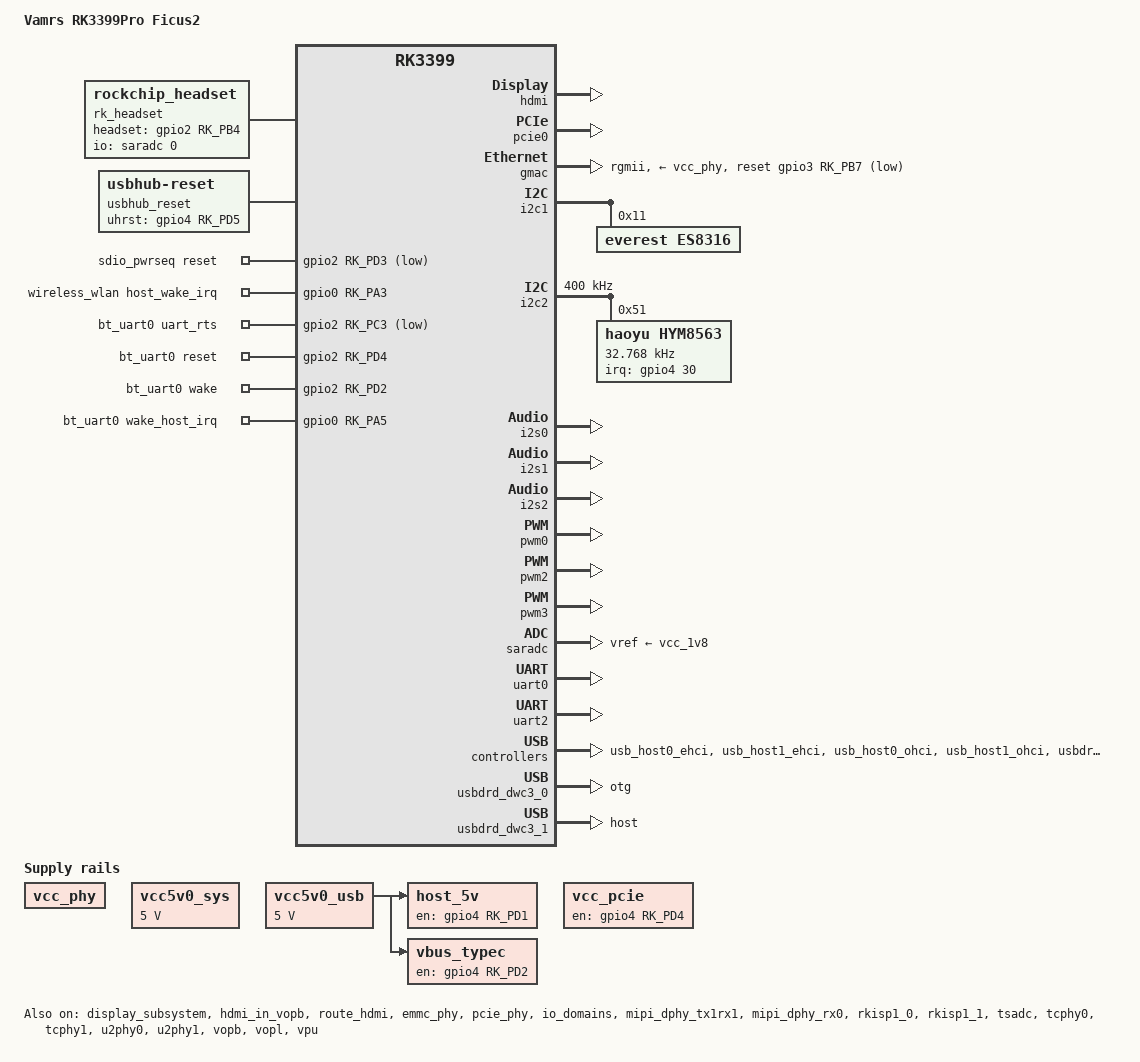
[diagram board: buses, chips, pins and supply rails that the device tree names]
// SPDX-License-Identifier: (GPL-2.0+ OR MIT)
// Copyright (c) 2018 Fuzhou Rockchip Electronics Co., Ltd

/dts-v1/;
#include "rk3399pro-vmarc-som.dtsi"
#include "rk3399-linux.dtsi"

/ {
	model = "Vamrs RK3399Pro Ficus2";
	compatible = "vamrs,rk3399pro-ficus2", "rockchip,rk3399pro";

	/delete-node/ chosen;
	/delete-node/ rk809-sound;

	backlight: backlight {
		status = "disabled";
		compatible = "pwm-backlight";
		pwms = <&pwm0 0 25000 0>;
		brightness-levels = <
			  0  20  20  21  21  22  22  23
			 23  24  24  25  25  26  26  27
			 27  28  28  29  29  30  30  31
			 31  32  32  33  33  34  34  35
			 35  36  36  37  37  38  38  39
			 40  41  42  43  44  45  46  47
			 48  49  50  51  52  53  54  55
			 56  57  58  59  60  61  62  63
			 64  65  66  67  68  69  70  71
			 72  73  74  75  76  77  78  79
			 80  81  82  83  84  85  86  87
			 88  89  90  91  92  93  94  95
			 96  97  98  99 100 101 102 103
			104 105 106 107 108 109 110 111
			112 113 114 115 116 117 118 119
			120 121 122 123 124 125 126 127
			128 129 130 131 132 133 134 135
			136 137 138 139 140 141 142 143
			144 145 146 147 148 149 150 151
			152 153 154 155 156 157 158 159
			160 161 162 163 164 165 166 167
			168 169 170 171 172 173 174 175
			176 177 178 179 180 181 182 183
			184 185 186 187 188 189 190 191
			192 193 194 195 196 197 198 199
			200 201 202 203 204 205 206 207
			208 209 210 211 212 213 214 215
			216 217 218 219 220 221 222 223
			224 225 226 227 228 229 230 231
			232 233 234 235 236 237 238 239
			240 241 242 243 244 245 246 247
			248 249 250 251 252 253 254 255
		>;
		default-brightness-level = <200>;
		enable-gpios = <&gpio1 RK_PB5 GPIO_ACTIVE_HIGH>;
	};

	panel: panel {
		status = "disabled";
		compatible = "simple-panel";
		backlight = <&backlight>;
		enable-gpios = <&gpio4 RK_PD6 GPIO_ACTIVE_HIGH>;
		prepare-delay-ms = <20>;
		enable-delay-ms = <20>;
		reset-delay-ms = <20>;

		display-timings {
			native-mode = <&timing0>;

			timing0: timing0 {
				clock-frequency = <200000000>;
				hactive = <1536>;
				vactive = <2048>;
				hfront-porch = <12>;
				hsync-len = <16>;
				hback-porch = <48>;
				vfront-porch = <8>;
				vsync-len = <4>;
				vback-porch = <8>;
				hsync-active = <0>;
				vsync-active = <0>;
				de-active = <0>;
				pixelclk-active = <0>;
			};
		};

		ports {
			panel_in: endpoint {
				remote-endpoint = <&edp_out>;
			};
		};
	};

	rk_headset: rk-headset {
		status = "okay";
		compatible = "rockchip_headset";
		headset_gpio = <&gpio2 RK_PB4 GPIO_ACTIVE_HIGH>;
		pinctrl-names = "default";
		pinctrl-0 = <&hp_det>;
		io-channels = <&saradc 0>;
	};

	es8316_sound:es8316-sound {
		status = "okay";
		compatible = "simple-audio-card";
		simple-audio-card,format = "i2s";
		simple-audio-card,name = "rockchip,es8316-codec";
		simple-audio-card,mclk-fs = <256>;
		simple-audio-card,widgets =
			"Microphone", "Mic Jack",
			"Headphone", "Headphone Jack";
		simple-audio-card,routing =
			"Mic Jack", "MICBIAS1",
			"IN1P", "Mic Jack",
			"Headphone Jack", "HPOL",
			"Headphone Jack", "HPOR";
		simple-audio-card,cpu {
			sound-dai = <&i2s0>;
		};
		simple-audio-card,codec {
			sound-dai = <&es8316>;
		};
	};

	hdmi_codec: hdmi-codec {
		status = "okay";
		compatible = "simple-audio-card";
		simple-audio-card,format = "i2s";
		simple-audio-card,mclk-fs = <256>;
		simple-audio-card,name = "HDMI-CODEC";

		simple-audio-card,cpu {
			sound-dai = <&i2s2>;
		};

		simple-audio-card,codec {
			sound-dai = <&hdmi>;
		};
	};

	vcc_phy: vcc-phy-regulator {
		compatible = "regulator-fixed";
		regulator-name = "vcc_phy";
		regulator-always-on;
		regulator-boot-on;
	};

	vcc5v0_sys: vccsys {
		compatible = "regulator-fixed";
		regulator-name = "vcc5v0_sys";
		regulator-always-on;
		regulator-boot-on;
		regulator-min-microvolt = <5000000>;
		regulator-max-microvolt = <5000000>;
	};

	vcc5v0_usb: vcc5v0-usb {
		compatible = "regulator-fixed";
		regulator-name = "vcc5v0_usb";
		regulator-always-on;
		regulator-boot-on;
		regulator-min-microvolt = <5000000>;
		regulator-max-microvolt = <5000000>;
	}; 

	usbhub_reset: usbhub-reset {
		compatible = "usbhub-reset";
		uhrst-gpio = <&gpio4 RK_PD5 GPIO_ACTIVE_HIGH>;
	};

	host_5v: host-5v {
		compatible = "regulator-fixed";
		enable-active-high;
		gpio = <&gpio4 RK_PD1 GPIO_ACTIVE_HIGH>;
		pinctrl-names = "default";
		pinctrl-0 = <&usb1_en_oc>;
		regulator-name = "host_5v";
		regulator-always-on;
		regulator-boot-on;
		vin-supply = <&vcc5v0_usb>;
	};

	vbus_typec: vbus-typec {
		compatible = "regulator-fixed";
		enable-active-high;
		gpio = <&gpio4 RK_PD2 GPIO_ACTIVE_HIGH>;
		pinctrl-names = "default";
		pinctrl-0 = <&usb0_en_oc>;
		regulator-name = "vbus_typec";
		regulator-always-on;
		regulator-boot-on;
		vin-supply = <&vcc5v0_usb>;
	};

	vcc_pcie: vcc-pcie-regulator {
		compatible = "regulator-fixed";
		enable-active-high;
		gpio = <&gpio4 RK_PD4 GPIO_ACTIVE_HIGH>;
		pinctrl-names = "default";
		pinctrl-0 = <&pcie_pwr>;
		regulator-name = "vcc_pcie";
		regulator-always-on;
		regulator-boot-on;
	};

	sdio_pwrseq: sdio-pwrseq {
		status = "okay";
		compatible = "mmc-pwrseq-simple";
		clocks = <&rk809 1>;
		clock-names = "ext_clock";
		pinctrl-names = "default";
		pinctrl-0 = <&wifi_enable_h>;

		/*
		 * On the module itself this is one of these (depending
		 * on the actual card populated):
		 * - SDIO_RESET_L_WL_REG_ON
		 * - PDN (power down when low)
		 */
		reset-gpios = <&gpio2 RK_PD3 GPIO_ACTIVE_LOW>;
	};

	wireless_wlan: wireless-wlan {
		compatible = "wlan-platdata";
		rockchip,grf = <&grf>;
		wifi_chip_type = "ap6256";
		sdio_vref = <1800>;
		pinctrl-names = "default";
		pinctrl-0 = <&wifi_wake_host>;
		WIFI,host_wake_irq = <&gpio0 RK_PA3 GPIO_ACTIVE_HIGH>;
		status = "okay";
	};

	bt_uart0: wireless_bluetooth: wireless-bluetooth {
		compatible = "bluetooth-platdata";
		clocks = <&rk809 1>;
		clock-names = "ext_clock";
		uart_rts_gpios = <&gpio2 RK_PC3 GPIO_ACTIVE_LOW>;
		pinctrl-names = "default", "rts_gpio";
		pinctrl-0 = <&uart0_rts>;
		pinctrl-1 = <&uart0_gpios>;
		BT,reset_gpio    = <&gpio2 RK_PD4 GPIO_ACTIVE_HIGH>;
		BT,wake_gpio     = <&gpio2 RK_PD2 GPIO_ACTIVE_HIGH>;
		BT,wake_host_irq = <&gpio0 RK_PA5 GPIO_ACTIVE_HIGH>;
		status = "okay";
	};
};

&cpu_l0 {
	cpu-supply = <&vdd_cpu_l>;
};

&cpu_l1 {
	cpu-supply = <&vdd_cpu_l>;
};

&cpu_l2 {
	cpu-supply = <&vdd_cpu_l>;
};

&cpu_l3 {
	cpu-supply = <&vdd_cpu_l>;
};

&cpu_b0 {
	cpu-supply = <&vdd_cpu_b>;
};

&cpu_b1 {
	cpu-supply = <&vdd_cpu_b>;
};

&fiq_debugger {
	status = "disabled";
};

&display_subsystem {
	status = "okay";
};

&hdmi {
	status = "okay";
	#address-cells = <1>;
	#size-cells = <0>;
	#sound-dai-cells = <0>;
};

&hdmi_in_vopb {
	status = "okay";
};

&hdmi_in_vopl {
	status = "disabled";
};

&route_hdmi {
	status = "okay";
	connect = <&vopb_out_hdmi>;
};

&edp {
	status = "disabled";
	force-hpd;

	ports {
	port@1 {
		reg = <1>;

			edp_out: endpoint {
				remote-endpoint = <&panel_in>;
			};
		};
	};
};

&edp_in_vopb {
	status = "disabled";
};

&edp_in_vopl {
	status = "disabled";
};

&route_edp {
	status = "disabled";
	connect = <&vopl_out_edp>;
};

&emmc_phy {
	status = "okay";
};

&sdmmc {
	sd-uhs-sdr12;
	sd-uhs-sdr25;
	sd-uhs-sdr50;
	sd-uhs-sdr104;
};

&sdio0 {
	/delete-property/ sd-uhs-sdr104;
};

&pcie_phy {
	status = "okay";
};

&pcie0 {
	ep-gpios = <&gpio0 RK_PB4 GPIO_ACTIVE_HIGH>;
	num-lines = <4>;
	pinctrl-names = "default";
	pinctrl-0 = <&pcie_clkreqnb_cpm>;
	status = "okay";
};

&gmac {
	phy-supply = <&vcc_phy>;
	phy-mode = "rgmii";
	clock_in_out = "input";
	snps,reset-gpio = <&gpio3 RK_PB7 GPIO_ACTIVE_LOW>;
	snps,reset-active-low;
	snps,reset-delays-us = <0 10000 50000>;
	assigned-clocks = <&cru SCLK_RMII_SRC>;
	assigned-clock-parents = <&clkin_gmac>;
	pinctrl-names = "default";
	pinctrl-0 = <&rgmii_pins>;
	tx_delay = <0x28>;
	rx_delay = <0x11>;
	status = "okay";
};

&i2c1 {
	status = "okay";
	i2c-scl-rising-time-ns = <140>;
	i2c-scl-falling-time-ns = <30>;

	es8316: es8316@11 {
		status = "okay";
		#sound-dai-cells = <0>;
		compatible = "everest,es8316";
		reg = <0x11>;
		clocks = <&cru SCLK_I2S_8CH_OUT>;
		clock-names = "mclk";
		pinctrl-names = "default";
		pinctrl-0 = <&i2s_8ch_mclk>;
	};
};

&i2c2 {
	status = "okay";
	clock-frequency = <400000>;

	hym8563: hym8563@51 {
		compatible = "haoyu,hym8563";
		reg = <0x51>;
		#clock-cells = <0>;
		clock-frequency = <32768>;
		clock-output-names = "hym8563";
		pinctrl-names = "default";
		pinctrl-0 = <&hym8563_int>;
		interrupt-parent = <&gpio4>;
		interrupts = <30 IRQ_TYPE_LEVEL_LOW>;
		status = "okay";
	};
};

&rk809 {
	/delete-node/ codec;
};

&i2s0 {
	#sound-dai-cells = <0>;
	status = "okay";
};

&i2s1 {
	status = "okay";
	#sound-dai-cells = <0>;
};

&i2s2 {
	#sound-dai-cells = <0>;
	status = "okay";
};

&io_domains {
	status = "okay";
	bt656-supply = <&vcca_1v8>;
	audio-supply = <&vcca_1v8>;
	sdmmc-supply = <&vccio_sd>;
	gpio1830-supply = <&vcc_3v0>;
};

&isp0_mmu {
	status = "okay";
};

&isp1_mmu {
	status = "okay";
};

&mipi_dphy_tx1rx1 {
	status = "okay";

	ports {
		#address-cells = <1>;
		#size-cells = <0>;

		port@0 {
			reg = <0>;
			#address-cells = <1>;
			#size-cells = <0>;

			mipi_in_ucam1: endpoint@1 {
				reg = <1>;
				/* Unlinked camera */
				//remote-endpoint = <&ucam_out1>;
				data-lanes = <1 2>;
			};
		};

		port@1 {
			reg = <1>;
			#address-cells = <1>;
			#size-cells = <0>;

			dphy_tx1rx1_out: endpoint@0 {
				reg = <0>;
				remote-endpoint = <&isp1_mipi_in>;
			};
		};
	};
};

&mipi_dphy_rx0 {
	status = "okay";

	ports {
		#address-cells = <1>;
		#size-cells = <0>;

		port@1 {
			reg = <1>;
			#address-cells = <1>;
			#size-cells = <0>;

			dphy_rx0_out: endpoint@0 {
				reg = <0>;
				remote-endpoint = <&isp0_mipi_in>;
			};
		};
	};
};

&pwm0 {
	status = "okay";
};

&pwm2 {
	status = "okay";
};

&pwm3 {
	status = "okay";
	pinctrl-names = "default";
	pinctrl-0 = <&pwm3a_pin>;
	interrupts = <GIC_SPI 61 IRQ_TYPE_LEVEL_HIGH 0>;
	compatible = "rockchip,remotectl-pwm";
	remote_pwm_id = <3>;
	handle_cpu_id = <1>;
	remote_support_psci = <1>;

	ir_key1 {
		rockchip,usercode = <0x4040>;
		rockchip,key_table =
			<0xf2	KEY_REPLY>,
			<0xba	KEY_BACK>,
			<0xf4	KEY_UP>,
			<0xf1	KEY_DOWN>,
			<0xef	KEY_LEFT>,
			<0xee	KEY_RIGHT>,
			<0xbd	KEY_HOME>,
			<0xea	KEY_VOLUMEUP>,
			<0xe3	KEY_VOLUMEDOWN>,
			<0xe2	KEY_SEARCH>,
			<0xb2	KEY_POWER>,
			<0xbc	KEY_MUTE>,
			<0xec	KEY_MENU>,
			<0xbf	0x190>,
			<0xe0	0x191>,
			<0xe1	0x192>,
			<0xe9	183>,
			<0xe6	248>,
			<0xe8	185>,
			<0xe7	186>,
			<0xf0	388>,
			<0xbe	0x175>;
	};

	ir_key2 {
		rockchip,usercode = <0xff00>;
		rockchip,key_table =
			<0xf9	KEY_HOME>,
			<0xbf	KEY_BACK>,
			<0xfb	KEY_MENU>,
			<0xaa	KEY_REPLY>,
			<0xb9	KEY_UP>,
			<0xe9	KEY_DOWN>,
			<0xb8	KEY_LEFT>,
			<0xea	KEY_RIGHT>,
			<0xeb	KEY_VOLUMEDOWN>,
			<0xef	KEY_VOLUMEUP>,
			<0xf7	KEY_MUTE>,
			<0xe7	KEY_POWER>,
			<0xfc	KEY_POWER>,
			<0xa9	KEY_VOLUMEDOWN>,
			<0xa8	KEY_VOLUMEDOWN>,
			<0xe0	KEY_VOLUMEDOWN>,
			<0xa5	KEY_VOLUMEDOWN>,
			<0xab	183>,
			<0xb7	388>,
			<0xf8	184>,
			<0xaf	185>,
			<0xed	KEY_VOLUMEDOWN>,
			<0xee	186>,
			<0xb3	KEY_VOLUMEDOWN>,
			<0xf1	KEY_VOLUMEDOWN>,
			<0xf2	KEY_VOLUMEDOWN>,
			<0xf3	KEY_SEARCH>,
			<0xb4	KEY_VOLUMEDOWN>,
			<0xbe	KEY_SEARCH>;
	};

	ir_key3 {
		rockchip,usercode = <0x1dcc>;
		rockchip,key_table =
			<0xee	KEY_REPLY>,
			<0xf0	KEY_BACK>,
			<0xf8	KEY_UP>,
			<0xbb	KEY_DOWN>,
			<0xef	KEY_LEFT>,
			<0xed	KEY_RIGHT>,
			<0xfc	KEY_HOME>,
			<0xf1	KEY_VOLUMEUP>,
			<0xfd	KEY_VOLUMEDOWN>,
			<0xb7	KEY_SEARCH>,
			<0xff	KEY_POWER>,
			<0xf3	KEY_MUTE>,
			<0xbf	KEY_MENU>,
			<0xf9	0x191>,
			<0xf5	0x192>,
			<0xb3	388>,
			<0xbe	KEY_1>,
			<0xba	KEY_2>,
			<0xb2	KEY_3>,
			<0xbd	KEY_4>,
			<0xf9	KEY_5>,
			<0xb1	KEY_6>,
			<0xfc	KEY_7>,
			<0xf8	KEY_8>,
			<0xb0	KEY_9>,
			<0xb6	KEY_0>,
			<0xb5	KEY_BACKSPACE>;
	};
};

&rkisp1_0 {
	status = "okay";

	port {
		#address-cells = <1>;
		#size-cells = <0>;

		isp0_mipi_in: endpoint@0 {
			reg = <0>;
			remote-endpoint = <&dphy_rx0_out>;
		};
	};
};

&rkisp1_1 {
	status = "okay";

	port {
		#address-cells = <1>;
		#size-cells = <0>;

		isp1_mipi_in: endpoint@0 {
			reg = <0>;
			remote-endpoint = <&dphy_tx1rx1_out>;
		};
	};
};

&saradc {
	status = "okay";
	vref-supply = <&vcc_1v8>;
};

&tsadc {
	rockchip,hw-tshut-mode = <1>; /* tshut mode 0:CRU 1:GPIO */
	rockchip,hw-tshut-polarity = <1>; /* tshut polarity 0:LOW 1:HIGH */
	status = "okay";
};

&uart0 {
	pinctrl-names = "default";
	pinctrl-0 = <&uart0_xfer &uart0_cts>;
	status = "okay";
};

&uart2 {
	status = "okay";
};

&tcphy0 {
	status = "okay";
};

&tcphy1 {
	status = "okay";
};

&u2phy0 {
	status = "okay";
	enable-active-high;
	gpio = <&gpio4 RK_PD1 GPIO_ACTIVE_HIGH>;

	u2phy0_otg: otg-port {
		status = "okay";
	};

	u2phy0_host: host-port {
		phy-supply = <&host_5v>;
		status = "okay";
	};
};

&u2phy1 {
	status = "okay";
	enable-active-high;
	gpio = <&gpio4 RK_PD1 GPIO_ACTIVE_HIGH>;

	u2phy1_otg: otg-port {
		status = "okay";
	};

	u2phy1_host: host-port {
		phy-supply = <&host_5v>;
		status = "okay";
	};
};

&usb_host0_ehci {
	status = "okay";
};

&usb_host1_ehci {
	status = "okay";
};
&usb_host0_ohci {
	status = "okay";
};

&usb_host1_ohci {
	status = "okay";
};

&usbdrd3_0 {
	extcon = <&u2phy0>;
	status = "okay";
};

&usbdrd3_1 {
	status = "okay";
};

&usbdrd_dwc3_0 {
	dr_mode = "otg";
	status = "okay";
};

&usbdrd_dwc3_1 {
	dr_mode = "host";
	status = "okay";
};

&vopb {
	status = "okay";
};

&vopb_mmu {
	status = "okay";
};

&vopl {
	status = "okay";
};

&vopl_mmu {
	status = "okay";
};

&vpu {
	status = "okay";
	/* 0 means ion, 1 means drm */
	//allocator = <0>;
};

&pinctrl {
	headphone {
		hp_det: hp-det {
			rockchip,pins =
				<2 RK_PB4 RK_FUNC_GPIO &pcfg_pull_up>;
		};
	};

	host_5v {
		usb1_en_oc: usb1-en-oc {
			rockchip,pins =
				<4 RK_PD1 RK_FUNC_GPIO &pcfg_pull_up_10ma>;
		};
	};

	vbus_typec {
		usb0_en_oc: usb0-en-oc {
			rockchip,pins =
				<4 RK_PD2 RK_FUNC_GPIO &pcfg_pull_up_10ma>;
		};
	};

	pcie {
		pcie_pwr: pcie-pwr{
			rockchip,pins =
				<4 RK_PD4 RK_FUNC_GPIO &pcfg_pull_up>;
		};
	};

	sdmmc {
		sdmmc_bus1: sdmmc-bus1 {
			rockchip,pins =
				<4 RK_PB0 RK_FUNC_1 &pcfg_pull_up_10ma>;
		};

		sdmmc_bus4: sdmmc-bus4 {
			rockchip,pins =
				<4 RK_PB0 RK_FUNC_1 &pcfg_pull_up_10ma>,
				<4 RK_PB1 RK_FUNC_1 &pcfg_pull_up_10ma>,
				<4 RK_PB2 RK_FUNC_1 &pcfg_pull_up_10ma>,
				<4 RK_PB3 RK_FUNC_1 &pcfg_pull_up_10ma>;
		};

		sdmmc_clk: sdmmc-clk {
			rockchip,pins =
				<4 RK_PB4 RK_FUNC_1 &pcfg_pull_none_10ma>;
		};

		sdmmc_cmd: sdmmc-cmd {
			rockchip,pins =
				<4 RK_PB5 RK_FUNC_1 &pcfg_pull_up_10ma>;
		};
	};

	sdio-pwrseq {
		wifi_enable_h: wifi-enable-h {
			rockchip,pins =
				<2 RK_PD3 RK_FUNC_GPIO &pcfg_pull_none>;
		};
	};

	wireless-wlan {
		wifi_wake_host: wifi-wake-host {
			rockchip,pins =
				<0 RK_PA3 RK_FUNC_GPIO &pcfg_pull_down>;
		};
	};

	wireless-bluetooth {
		uart0_gpios: uart0-gpios {
			rockchip,pins =
				<2 RK_PC3 RK_FUNC_GPIO &pcfg_pull_none>;
		};
	};

	hym8563 {
		hym8563_int: hym8563-int {
			rockchip,pins =
				<4 RK_PD6 RK_FUNC_GPIO &pcfg_pull_up>;
		};
	};
};

/* DON'T PUT ANYTHING BELOW HERE.  PUT IT ABOVE PINCTRL */
/* DON'T PUT ANYTHING BELOW HERE.  PUT IT ABOVE PINCTRL */
/* DON'T PUT ANYTHING BELOW HERE.  PUT IT ABOVE PINCTRL */
